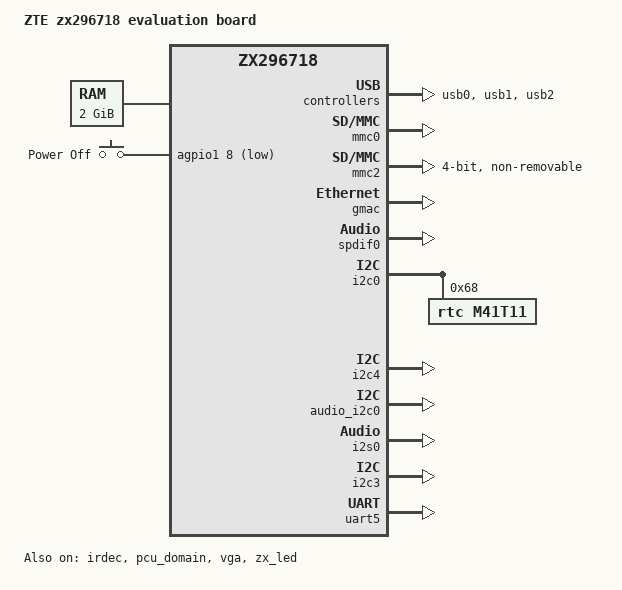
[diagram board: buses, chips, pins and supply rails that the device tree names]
/*
 * ZTE Ltd. zx296718 Plaform
 *
 */
/dts-v1/;
#include "zx296718.dtsi"

/ {
	model = "ZTE zx296718 evaluation board";
	compatible = "zte,zx296718-evb", "zte,zx296718";


	chosen {
		bootargs = "console=ttyS0,115200 earlyprintk";
	};

	memory@80000000 {
		device_type = "memory";
		reg = <0x80000000 0x80000000>;
	};

	/*memory@c0000000 {
		device_type = "memory";
		reg = <0xc0000000 0x10000000>;
	};*/

	cluster0_opp_table: cluster0_opp_table {
		compatible = "operating-points-v2";
		opp-shared;

		opp00 {
			opp-hz = /bits/ 64 <500000000>;
			opp-microvolt = <840000>;
			clock-latency-ns = <500000>;
		};

		opp01 {
			opp-hz = /bits/ 64 <648000000>;
			opp-microvolt = <840000>;
			clock-latency-ns = <500000>;
		};

		opp02 {
			opp-hz = /bits/ 64 <1000000000>;
			opp-microvolt = <892000>;
			clock-latency-ns = <500000>;
		};

		opp03 {
			opp-hz = /bits/ 64 <1188000000>;
			opp-microvolt = <1004000>;
			clock-latency-ns = <500000>;
		};
   	};

	cluster1_opp_table: cluster1_opp_table {
       		compatible = "operating-points-v2";
		opp-shared;

		opp00 {
			opp-hz = /bits/ 64 <648000000>;
			opp-microvolt = <850000>;
			clock-latency-ns = <500000>;
		};

		opp01 {
			opp-hz = /bits/ 64 <1000000000>;
			opp-microvolt = <880000>;
			clock-latency-ns = <500000>;
		};

		opp02 {
			opp-hz = /bits/ 64 <1188000000>;
			opp-microvolt = <911000>;
			clock-latency-ns = <500000>;
		};

		opp03 {
			opp-hz = /bits/ 64 <1296000000>;
			opp-microvolt = <951000>;
			clock-latency-ns = <500000>;
		};

		opp04 {
			opp-hz = /bits/ 64 <1600000000>;
			opp-microvolt = <1105000>;
			clock-latency-ns = <500000>;
		};
	};

	cpus {
                #address-cells = <2>;
                #size-cells = <0>;

                cpu-map {
                        cluster0 {
                                core0 {
                                        cpu = <&cpu0>;
                                };
                                core1 {
                                        cpu = <&cpu1>;
                                };
                                core2 {
                                        cpu = <&cpu2>;
                                };
                                core3 {
                                        cpu = <&cpu3>;
                                };
                                /*todo for a53 core1 to core3*/
                        };

                        cluster1 {
                                core0 {
                                        cpu = <&cpu4>;
                                };
                                core1 {
                                        cpu = <&cpu5>;
                                };
                        };
                };
                cpu0: cpu@0 {
                        device_type = "cpu";
                        compatible = "arm,cortex-a53","arm,armv8";
                        reg = <0x0 0x0>;
                        enable-method = "psci";
			operating-points-v2 = <&cluster0_opp_table>;
                        /*cpu-idle-states = <&CPU_SLEEP_0_0 &CLUSTER_SLEEP_0>;*/
                };

                cpu1: cpu@1 {
                        device_type = "cpu";
                        compatible = "arm,cortex-a53","arm,armv8";
                        reg = <0x0 0x1>;
                        enable-method = "psci";
			operating-points-v2 = <&cluster0_opp_table>;
                };

                cpu2: cpu@2 {
                        device_type = "cpu";
                        compatible = "arm,cortex-a53","arm,armv8";
                        reg = <0x0 0x2>;
                        enable-method = "psci";
			operating-points-v2 = <&cluster0_opp_table>;
                };

                cpu3: cpu@3 {
                        device_type = "cpu";
                        compatible = "arm,cortex-a53","arm,armv8";
                        reg = <0x0 0x3>;
                        enable-method = "psci";
			operating-points-v2 = <&cluster0_opp_table>;
                };

                cpu4: cpu@100 {
                        device_type = "cpu";
                        compatible = "arm,cortex-a72","arm,armv8";
                        reg = <0x0 0x100>;
                        enable-method = "psci";
			operating-points-v2 = <&cluster1_opp_table>;
                };

                cpu5: cpu@101 {
                        device_type = "cpu";
                        compatible = "arm,cortex-a72","arm,armv8";
                        reg = <0x0 0x101>;
                        enable-method = "psci";
			operating-points-v2 = <&cluster1_opp_table>;
                };

	};
};




&dma {
	status = "ok";
};
&usb0{
	status = "okay";
};
&usb1{
	status = "okay";
};
&bgpio4{
	status = "okay";
};
&usb2{
	status = "okay";
};
&mmc0{
	status = "okay";
};
&gpu{
	status = "disable";
};
&mmc1{
	bus-width = <4>;
	clock-frequency = <50000000>;
	clocks = <&topcrm SD0_AHB>,<&topcrm SD0_WCLK>;
	clock-names = "biu", "ciu";
	num-slots = <1>;
	max-frequency = <50000000>;
	cap-sdio-irq;
	/*keep-power-in-suspend;*/
	/*enable-sdio-wakeup;*/
	supports-highspeed;
	cap-sd-highspeed;
	sd-uhs-sdr12;
	sd-uhs-sdr25;
	sd-uhs-sdr50;
	sd-uhs-sdr104;
	sd-uhs-ddr50;
	/*non-removable;*/
	disable-wp;
	status = "disabled";
};
&mmc2{
	bus-width = <4>;
	clock-frequency = <50000000>;
	clocks = <&topcrm SD1_AHB>,<&topcrm SD1_WCLK>;
	clock-names = "biu", "ciu";
	num-slots = <1>;
	max-frequency = <50000000>;
	cap-sdio-irq;
	enable-sdio-wakeup;
	supports-highspeed;
	cap-sd-highspeed;
	/*sd-uhs-sdr12;*/
	/*sd-uhs-sdr25;*/
	/*sd-uhs-sdr50;*/
	/*sd-uhs-sdr104;*/
	/*sd-uhs-ddr50;*/
	non-removable;
	disable-wp;
	status = "okay";
};
&gmac {
	status = "ok";
};

&irdec {
	status = "ok";
};
&pcu_domain {
	status = "ok";
};

&cpufreq {
	status = "okay";
};

&spdif0{
	#sound-dai-cells = <0>;
	status = "okay";
};

&spdif1 {
	#sound-dai-cells = <0>;
	status = "disabled";
};

&vga {
	status = "okay";
};


&i2c0 {
	status = "okay";
	rtc@68 {
		compatible = "rtc,m41t11";
		reg = <0x68>;
	};
};

&i2c4 {
	status = "okay";
};

&audio_i2c0 {	
    	status = "okay";       
};
&i2s0 {
	#sound-dai-cells = <0>;
	status = "okay";
};

&i2c3 {	
    	status = "okay";
      /*  pcm3168_i2c: pcm3168@44 {
        compatible = "zte,zx296718-i2c-pcm3168";
        reg = <0x44>; 
	};*/ 
};


&i2s1 {
	#sound-dai-cells = <0>;
	status = "disabled";
};

&i2s2 {
	#sound-dai-cells = <0>;
	status = "disabled";
};

&i2s3 {
	#sound-dai-cells = <0>;
	status = "disabled";
};
&bgpio0 {
	status = "okay";
};
&bgpio1 {
	status = "okay";
};
&bgpio2 {
	status = "okay";
};
&bgpio3 {
	status = "okay";
};
&bgpio4 {
	status = "okay";
};
&bgpio5 {
	status = "okay";
};
&bgpio6 {
	status = "okay";
};
&agpio0 {
	status = "okay";
};
&agpio1 {
	status = "okay";
};

&zx_led {
		status = "ok";
};

&uart5 {
	status = "okay";
};

&gpio_keys {
	status = "okay";

	button@1 {
		label = "Power Off";
		gpios = <&agpio1 8 GPIO_ACTIVE_LOW>; /* AGPIO24 */
		linux,code = <KEY_POWER>;
		debounce-interval = <10>;
	};
};
